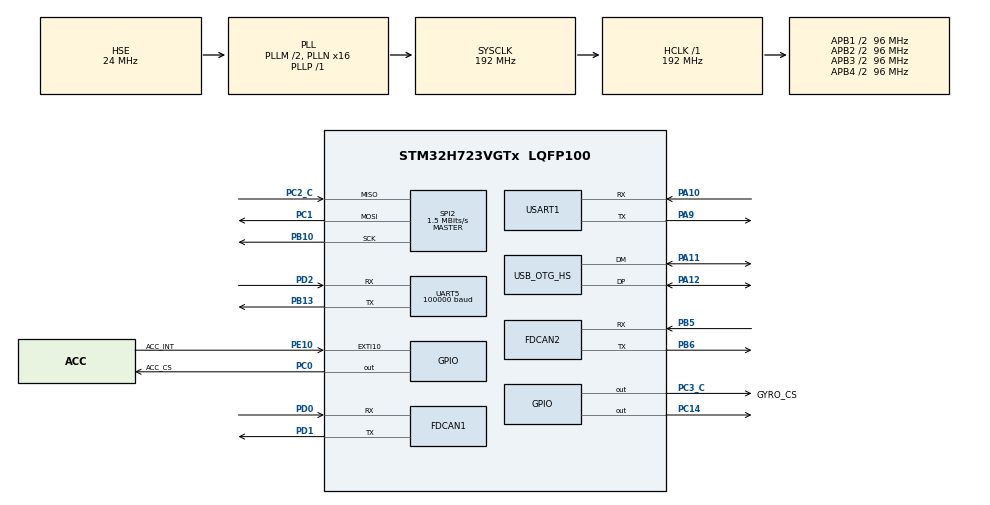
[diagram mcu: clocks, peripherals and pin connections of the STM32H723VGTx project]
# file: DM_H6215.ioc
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CORTEX_M7.default_mode_Activation=1
Dma.Request0=USART1_RX
Dma.Request1=UART5_RX
Dma.Request2=SPI2_RX
Dma.Request3=SPI2_TX
Dma.SPI2_RX.2.Direction=DMA_PERIPH_TO_MEMORY
Dma.SPI2_RX.2.EventEnable=DISABLE
Dma.SPI2_RX.2.FIFOMode=DMA_FIFOMODE_DISABLE
Dma.SPI2_RX.2.Instance=DMA1_Stream2
Dma.SPI2_RX.2.MemDataAlignment=DMA_MDATAALIGN_BYTE
Dma.SPI2_RX.2.MemInc=DMA_MINC_ENABLE
Dma.SPI2_RX.2.Mode=DMA_NORMAL
Dma.SPI2_RX.2.PeriphDataAlignment=DMA_PDATAALIGN_BYTE
Dma.SPI2_RX.2.PeriphInc=DMA_PINC_DISABLE
Dma.SPI2_RX.2.Polarity=HAL_DMAMUX_REQ_GEN_RISING
Dma.SPI2_RX.2.Priority=DMA_PRIORITY_VERY_HIGH
Dma.SPI2_RX.2.RequestNumber=1
Dma.SPI2_RX.2.SignalID=NONE
Dma.SPI2_RX.2.SyncEnable=DISABLE
Dma.SPI2_RX.2.SyncPolarity=HAL_DMAMUX_SYNC_NO_EVENT
Dma.SPI2_RX.2.SyncRequestNumber=1
Dma.SPI2_RX.2.SyncSignalID=NONE
Dma.SPI2_TX.3.Direction=DMA_MEMORY_TO_PERIPH
Dma.SPI2_TX.3.EventEnable=DISABLE
Dma.SPI2_TX.3.FIFOMode=DMA_FIFOMODE_DISABLE
Dma.SPI2_TX.3.Instance=DMA1_Stream3
Dma.SPI2_TX.3.MemDataAlignment=DMA_MDATAALIGN_BYTE
Dma.SPI2_TX.3.MemInc=DMA_MINC_ENABLE
Dma.SPI2_TX.3.Mode=DMA_NORMAL
Dma.SPI2_TX.3.PeriphDataAlignment=DMA_PDATAALIGN_BYTE
Dma.SPI2_TX.3.PeriphInc=DMA_PINC_DISABLE
Dma.SPI2_TX.3.Polarity=HAL_DMAMUX_REQ_GEN_RISING
Dma.SPI2_TX.3.Priority=DMA_PRIORITY_HIGH
Dma.SPI2_TX.3.RequestNumber=1
Dma.SPI2_TX.3.SignalID=NONE
Dma.SPI2_TX.3.SyncEnable=DISABLE
Dma.SPI2_TX.3.SyncPolarity=HAL_DMAMUX_SYNC_NO_EVENT
Dma.SPI2_TX.3.SyncRequestNumber=1
Dma.SPI2_TX.3.SyncSignalID=NONE
Dma.UART5_RX.1.Direction=DMA_PERIPH_TO_MEMORY
Dma.UART5_RX.1.EventEnable=DISABLE
Dma.UART5_RX.1.FIFOMode=DMA_FIFOMODE_DISABLE
Dma.UART5_RX.1.Instance=DMA1_Stream1
Dma.UART5_RX.1.MemDataAlignment=DMA_MDATAALIGN_BYTE
Dma.UART5_RX.1.MemInc=DMA_MINC_ENABLE
Dma.UART5_RX.1.Mode=DMA_CIRCULAR
Dma.UART5_RX.1.PeriphDataAlignment=DMA_PDATAALIGN_BYTE
Dma.UART5_RX.1.PeriphInc=DMA_PINC_DISABLE
Dma.UART5_RX.1.Polarity=HAL_DMAMUX_REQ_GEN_RISING
Dma.UART5_RX.1.Priority=DMA_PRIORITY_LOW
Dma.UART5_RX.1.RequestNumber=1
Dma.UART5_RX.1.SignalID=NONE
Dma.UART5_RX.1.SyncEnable=DISABLE
Dma.UART5_RX.1.SyncPolarity=HAL_DMAMUX_SYNC_NO_EVENT
Dma.UART5_RX.1.SyncRequestNumber=1
Dma.UART5_RX.1.SyncSignalID=NONE
Dma.USART1_RX.0.Direction=DMA_PERIPH_TO_MEMORY
Dma.USART1_RX.0.EventEnable=DISABLE
Dma.USART1_RX.0.FIFOMode=DMA_FIFOMODE_DISABLE
Dma.USART1_RX.0.Instance=DMA1_Stream0
Dma.USART1_RX.0.MemDataAlignment=DMA_MDATAALIGN_BYTE
Dma.USART1_RX.0.MemInc=DMA_MINC_ENABLE
Dma.USART1_RX.0.Mode=DMA_CIRCULAR
Dma.USART1_RX.0.PeriphDataAlignment=DMA_PDATAALIGN_BYTE
Dma.USART1_RX.0.PeriphInc=DMA_PINC_DISABLE
Dma.USART1_RX.0.Polarity=HAL_DMAMUX_REQ_GEN_RISING
Dma.USART1_RX.0.Priority=DMA_PRIORITY_LOW
Dma.USART1_RX.0.RequestNumber=1
Dma.USART1_RX.0.SignalID=NONE
Dma.USART1_RX.0.SyncEnable=DISABLE
Dma.USART1_RX.0.SyncPolarity=HAL_DMAMUX_SYNC_NO_EVENT
Dma.USART1_RX.0.SyncRequestNumber=1
Dma.USART1_RX.0.SyncSignalID=NONE
FDCAN1.CalculateBaudRateNominal=1000000
FDCAN1.CalculateTimeBitNominal=1000
FDCAN1.CalculateTimeQuantumNominal=41.666666666666664
FDCAN1.DataPrescaler=2
FDCAN1.DataSyncJumpWidth=5
FDCAN1.DataTimeSeg1=18
FDCAN1.DataTimeSeg2=5
FDCAN1.NominalPrescaler=2
FDCAN1.NominalSyncJumpWidth=5
FDCAN1.NominalTimeSeg1=18
FDCAN1.NominalTimeSeg2=5
FDCAN1.RxFifo0ElmtsNbr=4
FDCAN1.StdFiltersNbr=1
FDCAN1.TxFifoQueueElmtsNbr=4
FDCAN2.CalculateBaudRateNominal=1000000
FDCAN2.CalculateTimeBitNominal=1000
FDCAN2.CalculateTimeQuantumNominal=41.666666666666664
FDCAN2.DataPrescaler=2
FDCAN2.DataSyncJumpWidth=5
FDCAN2.DataTimeSeg1=18
FDCAN2.DataTimeSeg2=5
FDCAN2.NominalPrescaler=2
FDCAN2.NominalSyncJumpWidth=5
FDCAN2.NominalTimeSeg1=18
FDCAN2.NominalTimeSeg2=5
FDCAN2.RxFifo0ElmtsNbr=4
FDCAN2.StdFiltersNbr=1
FDCAN2.TxFifoQueueElmtsNbr=4
Mcu.Family=STM32H7
Mcu.Name=STM32H723VGTx
Mcu.Package=LQFP100
NVIC.DMA1_Stream0_IRQn=true\:0\:0\:false\:false\:true\:false\:true\:true
NVIC.DMA1_Stream1_IRQn=true\:0\:0\:false\:false\:true\:false\:true\:true
NVIC.DMA1_Stream2_IRQn=true\:0\:0\:false\:false\:true\:false\:true\:true
NVIC.DMA1_Stream3_IRQn=true\:0\:0\:false\:false\:true\:false\:true\:true
NVIC.FDCAN1_IT0_IRQn=true\:0\:0\:false\:false\:true\:true\:true\:true
NVIC.FDCAN2_IT0_IRQn=true\:0\:0\:false\:false\:true\:true\:true\:true
NVIC.OTG_HS_IRQn=true\:0\:0\:false\:false\:true\:false\:true\:true
NVIC.PriorityGroup=NVIC_PRIORITYGROUP_4
NVIC.SPI2_IRQn=true\:0\:0\:false\:false\:true\:false\:true\:true
NVIC.UART5_IRQn=true\:0\:0\:false\:false\:true\:true\:true\:true
NVIC.USART1_IRQn=true\:0\:0\:false\:false\:true\:true\:true\:true
PA10.Mode=Asynchronous
PA10.Signal=USART1_RX
PA11.Mode=Device_Only_FS
PA11.Signal=USB_OTG_HS_DM
PA12.Mode=Device_Only_FS
PA12.Signal=USB_OTG_HS_DP
PA13(JTMS/SWDIO).Mode=Serial_Wire
PA13(JTMS/SWDIO).Signal=DEBUG_JTMS-SWDIO
PA14(JTCK/SWCLK).Mode=Serial_Wire
PA14(JTCK/SWCLK).Signal=DEBUG_JTCK-SWCLK
PA9.Mode=Asynchronous
PA9.Signal=USART1_TX
PB10.GPIO_Speed=GPIO_SPEED_FREQ_VERY_HIGH
PB10.Mode=Full_Duplex_Master
PB10.Signal=SPI2_SCK
PB13.Mode=Asynchronous
PB13.Signal=UART5_TX
PB5.Mode=FDCAN_Activate
PB5.Signal=FDCAN2_RX
PB6.Mode=FDCAN_Activate
PB6.Signal=FDCAN2_TX
PC0.GPIO_Label=ACC_CS
PC0.GPIO_Speed=GPIO_SPEED_FREQ_VERY_HIGH
PC0.PinState=GPIO_PIN_SET
PC0.Signal=GPIO_Output
PC1.Mode=Full_Duplex_Master
PC1.Signal=SPI2_MOSI
PC14-OSC32_IN.Signal=GPIO_Output
PC2_C.Mode=Full_Duplex_Master
PC2_C.Signal=SPI2_MISO
PC3_C.GPIO_Label=GYRO_CS
PC3_C.GPIO_Speed=GPIO_SPEED_FREQ_VERY_HIGH
PC3_C.PinState=GPIO_PIN_SET
PC3_C.Signal=GPIO_Output
PD0.Mode=FDCAN_Activate
PD0.Signal=FDCAN1_RX
PD1.Mode=FDCAN_Activate
PD1.Signal=FDCAN1_TX
PD2.Mode=Asynchronous
PD2.Signal=UART5_RX
PE10.GPIO_Label=ACC_INT
PE10.Signal=GPXTI10
PH0-OSC_IN.Mode=HSE-External-Oscillator
PH0-OSC_IN.Signal=RCC_OSC_IN
PH1-OSC_OUT.Mode=HSE-External-Oscillator
PH1-OSC_OUT.Signal=RCC_OSC_OUT
ProjectManager.HeapSize=0x200
ProjectManager.StackSize=0x400
ProjectManager.TargetToolchain=MDK-ARM V5.32
RCC.ADCFreq_Value=48375000
RCC.APB1Freq_Value=96000000
RCC.APB2Freq_Value=96000000
RCC.APB3Freq_Value=96000000
RCC.APB4Freq_Value=96000000
RCC.CortexFreq_Value=192000000
RCC.D1PPRE=RCC_APB3_DIV2
RCC.D2PPRE1=RCC_APB1_DIV2
RCC.D2PPRE2=RCC_APB2_DIV2
RCC.D3PPRE=RCC_APB4_DIV2
RCC.DIVM1=2
RCC.DIVN1=16
RCC.DIVP1=1
RCC.DIVQ1=4
RCC.HCLKFreq_Value=192000000
RCC.HSE_VALUE=24000000
RCC.PLL2FRACN=0
RCC.PLL3FRACN=0
RCC.PLLFRACN=0
RCC.PLLSourceVirtual=RCC_PLLSOURCE_HSE
RCC.SYSCLKFreq_VALUE=192000000
RCC.SYSCLKSource=RCC_SYSCLKSOURCE_PLLCLK
RCC.USBFreq_Value=48000000
SPI2.BaudRatePrescaler=SPI_BAUDRATEPRESCALER_32
SPI2.CLKPhase=SPI_PHASE_2EDGE
SPI2.CLKPolarity=SPI_POLARITY_HIGH
SPI2.CalculateBaudRate=1.5 MBits/s
SPI2.DataSize=SPI_DATASIZE_8BIT
SPI2.Direction=SPI_DIRECTION_2LINES
SPI2.Mode=SPI_MODE_MASTER
SPI2.VirtualType=VM_MASTER
UART5.BaudRate=100000
UART5.DMADisableonRxErrorParam=UART_ADVFEATURE_DMA_DISABLEONRXERROR
UART5.Parity=PARITY_EVEN
UART5.RxPinLevelInvertParam=UART_ADVFEATURE_RXINV_ENABLE
UART5.StopBits=UART_STOPBITS_2
UART5.WordLength=WORDLENGTH_9B
USART1.VirtualMode-Asynchronous=VM_ASYNC
USB_DEVICE.CLASS_NAME_HS=CDC
USB_DEVICE.VirtualMode=Cdc
USB_DEVICE.VirtualModeHS=Cdc_HS
USB_OTG_HS.VirtualMode-Device_Only_FS=Device_Only_FS
VP_MEMORYMAP_VS_MEMORYMAP.Mode=CurAppReg
VP_USB_DEVICE_VS_USB_DEVICE_CDC_HS.Mode=CDC_HS
board=custom

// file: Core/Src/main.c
/* USER CODE BEGIN Header */
/**
  ******************************************************************************
  * @file           : main.c
  * @brief          : Main program body
  ******************************************************************************
  * @attention
  *
  * Copyright (c) 2024 STMicroelectronics.
  * All rights reserved.
  *
  * This software is licensed under terms that can be found in the LICENSE file
  * in the root directory of this software component.
  * If no LICENSE file comes with this software, it is provided AS-IS.
  *
  ******************************************************************************
  */
/* USER CODE END Header */
#include "main.h"
#include "dma.h"
#include "fdcan.h"
#include "spi.h"
#include "usart.h"
#include "usb_device.h"
#include "gpio.h"
#include "bsp_imu.h"

/* USER CODE BEGIN Includes */
#include "bsp_can.h"
#include "bsp_can2.h"
#include "Motor.h"
#include "bsp_sbus.h"
#include "usbd_cdc_if.h"
#include <stdio.h>

//#include "sbus.h"
/* USER CODE END Includes */

/* USER CODE BEGIN PD */
#define WHEEL_MOTOR_NUM        4U
#define WHEEL_TX_PERIOD_MS     5U
#define WHEEL_RAMP_STEP_RPM    0.4f
#define WHEEL_TEST_SPEED_RPM   10.0f

/*
 * Remote-control mode configuration.
 * Channel index is 0-based: CH1=0, CH2=1, CH3=2 ...
 */

#define RC_THROTTLE_CH         2U      /* CH3: 油门 */
#define RC_STEER_CH            0U      /* CH1: 转向 */
#define RC_ARM_CH              4U      /* CH5: arm switch, 2000 side (+1000) = unlocked */
#define RC_MODE_CH             5U      /* CH6: 1000 side = manual RC, 2000 side = Pi auto */
#define RC_VRA_CH              6U      /* CH7: VRa旋钮 → 速度限制器 (0=最慢, 2047=最快) */

#define RC_ONLINE_TIMEOUT_MS   300U
#define RC_DEBUG_PRINT_MS      200U

/* �����־����λ�ᵽ 100 ���ң�������������̫С */
#define RC_DEADBAND_NORM       180
#define RC_ARM_THRESHOLD_NORM  500

/* ��һ�治Ҫ̫�ͣ��ȴ� 45rpm ��ʼ */
#define RC_MAX_SPEED_RPM       60.0f

/* ԭ�� 0.60 ƫС������������ߵ� 1.00 */
#define RC_TURN_GAIN           1.00f
#define TURN_ASSIST_RPM        20.0f   /* CH1 turn assist: wheel differential rpm (low speed) */

/* ��ݮ���ٶ�ָ�� 300ms ����Ч����ʱ�Զ�ͣ */
#define PI_CMD_TIMEOUT_MS      1000U

/* IMU closed-loop control timing */
#define IMU_PROCESS_PERIOD_MS   5U

/* Max yaw rate at full steer stick (deg/s) */
#define RC_YAW_RATE_MAX_DPS     180.0f

/* USER CODE END PD */

/* USER CODE BEGIN PV */
static uint32_t last_wheel_tx_ms = 0U;
static uint32_t last_rc_debug_ms = 0U;
static uint32_t last_imu_process_ms = 0U;
static uint32_t last_can2_sbus_tx_ms = 0U;
static uint8_t  imu_ready = 0U;   /* set to 1 only after Init+Calibration both succeed */
/* USER CODE END PV */

void SystemClock_Config(void);
static void MPU_Config(void);

/* USER CODE BEGIN 0 */
static const uint16_t WheelMotorId[WHEEL_MOTOR_NUM] = {
    0x09, 0x10, 0x11, 0x12
};

/*
 * Direction correction:
 * +1 means keep command direction.
 * -1 means reverse command direction.
 * 0x11 was reported reversed, so it is set to -1 by default.
 */
static const int8_t WheelMotorDir[WHEEL_MOTOR_NUM] = {
    +1,   // 0x09
    -1,   // 0x10
    -1,   // 0x11
    +1    // 0x12
};

/*
 * Differential-drive wheel grouping assumption:
 * 0x09 = left front, 0x10 = right front, 0x11 = right rear, 0x12 = left rear.
 * If your real wiring is different, only adjust WheelRemoteTargetUpdate().
 */
static float WheelTargetRpm[WHEEL_MOTOR_NUM] = {
    0.0f, 0.0f, 0.0f, 0.0f
};

static float WheelCmdRpm[WHEEL_MOTOR_NUM] = {
    0.0f, 0.0f, 0.0f, 0.0f
};

static volatile float PiTargetRpm[WHEEL_MOTOR_NUM] = {
    0.0f, 0.0f, 0.0f, 0.0f
};

static volatile uint32_t PiCmdLastMs = 0U;
static volatile uint8_t PiCmdValid = 0U;
static volatile uint8_t WheelSourceIsPi = 0U;

static float RampToTarget(float current, float target, float step)
{
    if (current < target)
    {
        current += step;
        if (current > target) current = target;
    }
    else if (current > target)
    {
        current -= step;
        if (current < target) current = target;
    }

    return current;
}

static float ClampFloat(float value, float min_value, float max_value)
{
    if (value > max_value) return max_value;
    if (value < min_value) return min_value;
    return value;
}
void WheelPiCommandSet(float fl_rpm, float fr_rpm, float rr_rpm, float rl_rpm)
{
    PiTargetRpm[0] = ClampFloat(fl_rpm, -RC_MAX_SPEED_RPM, RC_MAX_SPEED_RPM);
    PiTargetRpm[1] = ClampFloat(fr_rpm, -RC_MAX_SPEED_RPM, RC_MAX_SPEED_RPM);
    PiTargetRpm[2] = ClampFloat(rr_rpm, -RC_MAX_SPEED_RPM, RC_MAX_SPEED_RPM);
    PiTargetRpm[3] = ClampFloat(rl_rpm, -RC_MAX_SPEED_RPM, RC_MAX_SPEED_RPM);

    PiCmdLastMs = HAL_GetTick();
    PiCmdValid = 1U;
}

static int16_t ApplyDeadbandNorm(int16_t value)
{
    if (value > -RC_DEADBAND_NORM && value < RC_DEADBAND_NORM)
    {
        return 0;
    }

    return value;
}

/*
 * VRA Speed Limiter: read CH7 (VRa knob) and return speed scale 0.0f ~ 1.0f.
 * VRA min (full CCW) → 0.0f (motors capped at 0 rpm)
 * VRA max (full CW)  → 1.0f (full RC_MAX_SPEED_RPM available)
 * Applies deadband at both ends to avoid jitter.
 */
static float VRA_GetSpeedScale(void)
{
    int16_t vra = SBUS_GetChannelNorm(RC_VRA_CH);

    /*
     * CH7 is a 2-position switch, not a knob:
     *   1000 side (norm -1000) = HIGH speed -> 1.00
     *   2000 side (norm +1000) = LOW  speed -> 0.50
     * Anything else (unreadable / mid position) falls back to 1.00 so the
     * wheels are never locked out by this switch alone.
     */
    if (vra >= RC_ARM_THRESHOLD_NORM)
    {
        return 0.5f;
    }

    return 1.0f;
}

static void WheelMotorsEnable(void)
{
    for (uint32_t i = 0; i < WHEEL_MOTOR_NUM; i++)
    {
        DM_Motor_Enable(WheelMotorId[i]);
        HAL_Delay(50);
    }
}

static void WheelAllTargetStop(void)
{
    for (uint32_t i = 0; i < WHEEL_MOTOR_NUM; i++)
    {
        WheelTargetRpm[i] = 0.0f;
    }
}

static void WheelRemoteTargetUpdate(void)
{
    const SBUS_Data_t *rc = SBUS_GetData();
    uint8_t online = SBUS_IsOnline(RC_ONLINE_TIMEOUT_MS);

    if ((online == 0U) || (rc->failsafe != 0U))
    {
        WheelSourceIsPi = 0U;
        WheelAllTargetStop();
        return;
    }

    int16_t arm  = SBUS_GetChannelNorm(RC_ARM_CH);
    int16_t mode = SBUS_GetChannelNorm(RC_MODE_CH);

    /*
     * CH5 ���ܰ�ȫ������
     * δ����ʱ������ң����������ݮ�ɣ������������Ӷ���
     */
    if (arm < RC_ARM_THRESHOLD_NORM)
    {
        WheelSourceIsPi = 0U;
        WheelAllTargetStop();
        return;
    }

    uint32_t now = HAL_GetTick();
    uint8_t pi_online = (PiCmdValid != 0U) && ((now - PiCmdLastMs) < PI_CMD_TIMEOUT_MS);

    /*
     * CH6 高：树莓派自动模式。
     * VRA旋钮同样作为全局速度限制器。
     */
    if (mode > RC_ARM_THRESHOLD_NORM)
    {
        if (pi_online != 0U)
        {
            float vra_scale = VRA_GetSpeedScale();
            float effective_max_rpm = RC_MAX_SPEED_RPM * vra_scale;

            WheelSourceIsPi = 1U;

            /* Apply VRA speed limit to Pi targets */
            for (uint32_t i = 0; i < WHEEL_MOTOR_NUM; i++)
            {
                WheelTargetRpm[i] = ClampFloat(PiTargetRpm[i], -effective_max_rpm, effective_max_rpm);
            }

            /* Pi mode: apply heading-hold correction */
            if (IMU_IsClosedLoopEnabled())
            {
                float hh_correction = IMU_HeadingHold_Compute();
                WheelTargetRpm[0] += hh_correction;
                WheelTargetRpm[3] += hh_correction;
                WheelTargetRpm[1] -= hh_correction;
                WheelTargetRpm[2] -= hh_correction;

                for (uint32_t i = 0; i < WHEEL_MOTOR_NUM; i++)
                {
                    WheelTargetRpm[i] = ClampFloat(WheelTargetRpm[i], -effective_max_rpm, effective_max_rpm);
                }
            }
        }
        else
        {
            WheelSourceIsPi = 0U;
            WheelAllTargetStop();
        }

        return;
    }

    /*
     * CH6 低：遥控手动模式。
     * VRA旋钮 (CH7) 作为速度限制器:
     *   VRA=最小 → speed_scale=0.0 → 电机锁死
     *   VRA=50%  → speed_scale=0.5 → 最高速度减半
     *   VRA=最大 → speed_scale=1.0 → 全速
     */
    WheelSourceIsPi = 0U;

    int16_t throttle = ApplyDeadbandNorm(SBUS_GetChannelNorm(RC_THROTTLE_CH));
    int16_t steer    = ApplyDeadbandNorm(SBUS_GetChannelNorm(RC_STEER_CH));

    float vra_scale        = VRA_GetSpeedScale();
    float effective_max_rpm = RC_MAX_SPEED_RPM * vra_scale;
    float forward_rpm       = ((float)throttle / 1000.0f) * effective_max_rpm;
    float steer_norm        = ((float)steer / 1000.0f);

    /*
     * CH3 drives all four wheels at the same speed by itself (no steering).
     * CH1 adds a small counter-rotating pair so the wheels help the in-place
     * turn the legs are doing: low-speed differential, +/- TURN_ASSIST_RPM.
     *   CH1 only   -> pure counter-rotation, assists the in-place spin
     *   CH1 + CH3  -> travel plus the same assist
     */

    float turn_assist_rpm = steer_norm * TURN_ASSIST_RPM;

    float left_rpm  = forward_rpm + turn_assist_rpm;
    float right_rpm = forward_rpm - turn_assist_rpm;

    left_rpm  = ClampFloat(left_rpm,  -effective_max_rpm, effective_max_rpm);
    right_rpm = ClampFloat(right_rpm, -effective_max_rpm, effective_max_rpm);

    /*
     * Ĭ������˳��
     * 0x09 = ��ǰ
     * 0x10 = ��ǰ
     * 0x11 = �Һ�
     * 0x12 = ���
     */
    WheelTargetRpm[0] = left_rpm;
    WheelTargetRpm[1] = right_rpm;
    WheelTargetRpm[2] = right_rpm;
    WheelTargetRpm[3] = left_rpm;

    /* ---- IMU closed-loop yaw-rate correction ---- */
    if (IMU_IsClosedLoopEnabled())
    {
        float target_yaw_rate_dps = steer_norm * RC_YAW_RATE_MAX_DPS;
        float imu_correction_rpm = IMU_YawRatePID_Compute(target_yaw_rate_dps);

        if (steer == 0)
        {
            /* Stick centered: engage heading hold */
            imu_correction_rpm += IMU_HeadingHold_Compute();
        }
        else
        {
            /* Actively steering: update heading reference for later */
            IMU_ResetYawReference();
        }

        /* Apply correction as differential: +left side, -right side */
        WheelTargetRpm[0] += imu_correction_rpm;  /* LF */
        WheelTargetRpm[3] += imu_correction_rpm;  /* LR */
        WheelTargetRpm[1] -= imu_correction_rpm;  /* RF */
        WheelTargetRpm[2] -= imu_correction_rpm;  /* RR */

        /* Re-clamp all targets with VRA speed limit */
        for (uint32_t i = 0; i < WHEEL_MOTOR_NUM; i++)
        {
            WheelTargetRpm[i] = ClampFloat(WheelTargetRpm[i], -effective_max_rpm, effective_max_rpm);
        }
    }
}

static void WheelMotorsVelocityModeUpdate(void)
{
    for (uint32_t i = 0; i < WHEEL_MOTOR_NUM; i++)
    {
        WheelCmdRpm[i] = RampToTarget(WheelCmdRpm[i], WheelTargetRpm[i], WHEEL_RAMP_STEP_RPM);
        DM_Motor_SpeedRpm(WheelMotorId[i], (float)WheelMotorDir[i] * WheelCmdRpm[i]);
    }
}

static void RemoteDebugPrint(void)
{
    const SBUS_Data_t *rc = SBUS_GetData();
    uint8_t online = SBUS_IsOnline(RC_ONLINE_TIMEOUT_MS);

    static char msg[400];
    uint32_t now = HAL_GetTick();
    uint32_t pi_age = now - PiCmdLastMs;

    float vra_scale = VRA_GetSpeedScale();

    int n = snprintf(msg,
                     sizeof(msg),
                     "RC on=%u fs=%u frm=%lu ch1=%d ch2=%d ch3=%d ch4=%d ch5=%d ch6=%d ch7=%d vra=%.2f max=%.1f src=%s pi=%u age=%lu tgt=[%.1f %.1f %.1f %.1f] cmd=[%.1f %.1f %.1f %.1f] CAN2=%.1f,%.1f bc=%lu hc=%lu bad=%lu rst=%lu uerr=%lu\r\n",
                     online,
                     rc->failsafe,
                     (unsigned long)rc->frame_count,
                     SBUS_GetChannelNorm(0),
                     SBUS_GetChannelNorm(1),
                     SBUS_GetChannelNorm(2),
                     SBUS_GetChannelNorm(3),
                     SBUS_GetChannelNorm(4),
                     SBUS_GetChannelNorm(5),
                     SBUS_GetChannelNorm(6),
                     (double)vra_scale,
                     (double)(RC_MAX_SPEED_RPM * vra_scale),
                     WheelSourceIsPi ? "PI" : "RC",
                     PiCmdValid,
                     (unsigned long)pi_age,
                     WheelTargetRpm[0],
                     WheelTargetRpm[1],
                     WheelTargetRpm[2],
                     WheelTargetRpm[3],
                     WheelCmdRpm[0],
                     WheelCmdRpm[1],
                     WheelCmdRpm[2],
                     WheelCmdRpm[3],
                     (double)CAN2_GetMotionCmd()->forward_rpm,
                     (double)CAN2_GetMotionCmd()->steer_norm,
                     (unsigned long)SBUS_DebugByteCount(),
                     (unsigned long)SBUS_DebugHeaderCount(),
                     (unsigned long)SBUS_DebugBadFrameCount(),
                     (unsigned long)SBUS_DebugRestartCount(),
                     (unsigned long)SBUS_DebugUartError());

    if (n > 0)
    {
        CDC_Transmit_HS((uint8_t *)msg, (uint16_t)n);
    }

    /* IMU status (separate print, only when ready) */
    if (imu_ready)
    {
        static char imu_msg[128];
        int m = snprintf(imu_msg, sizeof(imu_msg),
                         "IMU yaw=%.1f yr=%.1f dps p=%.1f r=%.1f safe=%u\r\n",
                         (double)IMU_GetYawAngle_deg(),
                         (double)IMU_GetYawRate_dps(),
                         (double)IMU_GetPitch_deg(),
                         (double)IMU_GetRoll_deg(),
                         IMU_IsTiltSafe());
        if (m > 0)
        {
            CDC_Transmit_HS((uint8_t *)imu_msg, (uint16_t)m);
        }
    }
}

/* USER CODE END 0 */

int main(void)
{

  /* MPU Configuration--------------------------------------------------------*/
  MPU_Config();

  /* MCU Configuration--------------------------------------------------------*/

  /* Reset of all peripherals, Initializes the Flash interface and the Systick. */
  HAL_Init();

  /* Configure the system clock */
  SystemClock_Config();

  /* Initialize all configured peripherals */
  MX_GPIO_Init();
  MX_DMA_Init();
  MX_FDCAN1_Init();
  MX_FDCAN2_Init();
  MX_USART1_UART_Init();
  MX_UART5_Init();
  MX_USB_DEVICE_Init();
  MX_SPI2_Init();
  /* USER CODE BEGIN 2 */
  BSP_FDCAN_Init();
  BSP_CAN2_Init();

  /* Enable 5V power for HT-10A receiver */
  HAL_GPIO_WritePin(GPIOC, GPIO_PIN_14, GPIO_PIN_SET);
  HAL_Delay(500);

  SBUS_Init();
  HAL_Delay(1000);

  /* Velocity Mode remote control: enable all four wheel hub motors once, but keep speed target at 0 until RC is online and armed. */
  WheelAllTargetStop();
  WheelMotorsEnable();

  last_wheel_tx_ms = HAL_GetTick();
  last_rc_debug_ms = HAL_GetTick();
  last_imu_process_ms = HAL_GetTick();
  last_can2_sbus_tx_ms = HAL_GetTick();

	  /* Initialize IMU */
  if (IMU_Init()) {
      /* IMU initialized successfully — run gyro calibration while stationary */
      HAL_Delay(100);
      if (IMU_CalibrateGyro(500)) {
          IMU_SetClosedLoopEnable(0U);
          IMU_SetTiltLimits(45.0f, 45.0f);
          imu_ready = 1U;
      }
  } else {
      /* IMU initialization failed — keep closed-loop disabled */
      imu_ready = 0U;
  }

  /* USER CODE END 2 */

  /* Infinite loop */
  while (1)
  {

    /* USER CODE BEGIN 3 */
    uint32_t now = HAL_GetTick();

    /* Poll SBUS DMA buffer every loop; without this, the receiver data will never affect motor targets. */
    SBUS_Process();

    /* Check for incoming CAN2 motion commands (from upper-body board) */
    {
        const CAN2_MotionCmd_t *can2 = CAN2_GetMotionCmd();
        if (can2->updated)
        {
            /* Feed CAN2 command into Pi-target path (reuses Pi-mode infrastructure) */
            float left_rpm  = can2->forward_rpm + can2->steer_norm * RC_MAX_SPEED_RPM;
            float right_rpm = can2->forward_rpm - can2->steer_norm * RC_MAX_SPEED_RPM;
            WheelPiCommandSet(left_rpm, right_rpm, right_rpm, left_rpm);
            ((CAN2_MotionCmd_t *)can2)->updated = 0U;  /* consume */
        }
    }

    WheelRemoteTargetUpdate();

    /* SBUS status feedback to upper-body board via CAN2 (100 Hz) */
    if ((now - last_can2_sbus_tx_ms) >= 10U)
    {
        last_can2_sbus_tx_ms = now;
        CAN2_SendSbusStatus();
    }

    if ((now - last_wheel_tx_ms) >= WHEEL_TX_PERIOD_MS)
    {
        last_wheel_tx_ms = now;
        WheelMotorsVelocityModeUpdate();
    }

    if ((now - last_rc_debug_ms) >= RC_DEBUG_PRINT_MS)
    {
        last_rc_debug_ms = now;
        RemoteDebugPrint();
    }

	    /* ---- IMU closed-loop processing (200 Hz, same as motor update) ---- */
    if (imu_ready && ((now - last_imu_process_ms) >= IMU_PROCESS_PERIOD_MS))
    {
        last_imu_process_ms = now;
        IMU_Process();

        /* Tilt safety: stop all motors if robot tilts too far */
        if (!IMU_IsTiltSafe())
        {
            WheelAllTargetStop();
        }
    }

    /* IMU debug print (20 Hz, only when IMU is ready) */
    static uint32_t last_imu_print_ms = 0;
    if (imu_ready && ((now - last_imu_print_ms) >= 50U))
    {
        last_imu_print_ms = now;
        IMU_PrintProcessed();   //��������Ѿ��� USER CODE BEGIN 4 �ж�����
    }
  /* USER CODE END 3 */
}
}
void SystemClock_Config(void)
{
  RCC_OscInitTypeDef RCC_OscInitStruct = {0};
  RCC_ClkInitTypeDef RCC_ClkInitStruct = {0};

  /** Supply configuration update enable
  */
  HAL_PWREx_ConfigSupply(PWR_LDO_SUPPLY);

  /** Configure the main internal regulator output voltage
  */
  __HAL_PWR_VOLTAGESCALING_CONFIG(PWR_REGULATOR_VOLTAGE_SCALE1);

  while(!__HAL_PWR_GET_FLAG(PWR_FLAG_VOSRDY)) {}

  /** Initializes the RCC Oscillators according to the specified parameters
  * in the RCC_OscInitTypeDef structure.
  */
  RCC_OscInitStruct.OscillatorType = RCC_OSCILLATORTYPE_HSE;
  RCC_OscInitStruct.HSEState = RCC_HSE_ON;
  RCC_OscInitStruct.PLL.PLLState = RCC_PLL_ON;
  RCC_OscInitStruct.PLL.PLLSource = RCC_PLLSOURCE_HSE;
  RCC_OscInitStruct.PLL.PLLM = 2;
  RCC_OscInitStruct.PLL.PLLN = 16;
  RCC_OscInitStruct.PLL.PLLP = 1;
  RCC_OscInitStruct.PLL.PLLQ = 4;
  RCC_OscInitStruct.PLL.PLLR = 2;
  RCC_OscInitStruct.PLL.PLLRGE = RCC_PLL1VCIRANGE_3;
  RCC_OscInitStruct.PLL.PLLVCOSEL = RCC_PLL1VCOWIDE;
  RCC_OscInitStruct.PLL.PLLFRACN = 0;
  if (HAL_RCC_OscConfig(&RCC_OscInitStruct) != HAL_OK)
  {
    Error_Handler();
  }

  /** Initializes the CPU, AHB and APB buses clocks
  */
  RCC_ClkInitStruct.ClockType = RCC_CLOCKTYPE_HCLK|RCC_CLOCKTYPE_SYSCLK
                              |RCC_CLOCKTYPE_PCLK1|RCC_CLOCKTYPE_PCLK2
                              |RCC_CLOCKTYPE_D3PCLK1|RCC_CLOCKTYPE_D1PCLK1;
  RCC_ClkInitStruct.SYSCLKSource = RCC_SYSCLKSOURCE_PLLCLK;
  RCC_ClkInitStruct.SYSCLKDivider = RCC_SYSCLK_DIV1;
  RCC_ClkInitStruct.AHBCLKDivider = RCC_HCLK_DIV1;
  RCC_ClkInitStruct.APB3CLKDivider = RCC_APB3_DIV2;
  RCC_ClkInitStruct.APB1CLKDivider = RCC_APB1_DIV2;
  RCC_ClkInitStruct.APB2CLKDivider = RCC_APB2_DIV2;
  RCC_ClkInitStruct.APB4CLKDivider = RCC_APB4_DIV2;

  if (HAL_RCC_ClockConfig(&RCC_ClkInitStruct, FLASH_LATENCY_2) != HAL_OK)
  {
    Error_Handler();
  }
}

 /* MPU Configuration */

void MPU_Config(void)
{
  MPU_Region_InitTypeDef MPU_InitStruct = {0};

  /* Disables the MPU */
  HAL_MPU_Disable();

  /** Initializes and configures the Region and the memory to be protected
  */
  MPU_InitStruct.Enable = MPU_REGION_ENABLE;
  MPU_InitStruct.Number = MPU_REGION_NUMBER0;
  MPU_InitStruct.BaseAddress = 0x0;
  MPU_InitStruct.Size = MPU_REGION_SIZE_4GB;
  MPU_InitStruct.SubRegionDisable = 0x87;
  MPU_InitStruct.TypeExtField = MPU_TEX_LEVEL0;
  MPU_InitStruct.AccessPermission = MPU_REGION_NO_ACCESS;
  MPU_InitStruct.DisableExec = MPU_INSTRUCTION_ACCESS_DISABLE;
  MPU_InitStruct.IsShareable = MPU_ACCESS_SHAREABLE;
  MPU_InitStruct.IsCacheable = MPU_ACCESS_NOT_CACHEABLE;
  MPU_InitStruct.IsBufferable = MPU_ACCESS_NOT_BUFFERABLE;

  HAL_MPU_ConfigRegion(&MPU_InitStruct);
  /* Enables the MPU */
  HAL_MPU_Enable(MPU_PRIVILEGED_DEFAULT);

}

void Error_Handler(void)
{
  __disable_irq();
  while (1)
  {
  }
}
